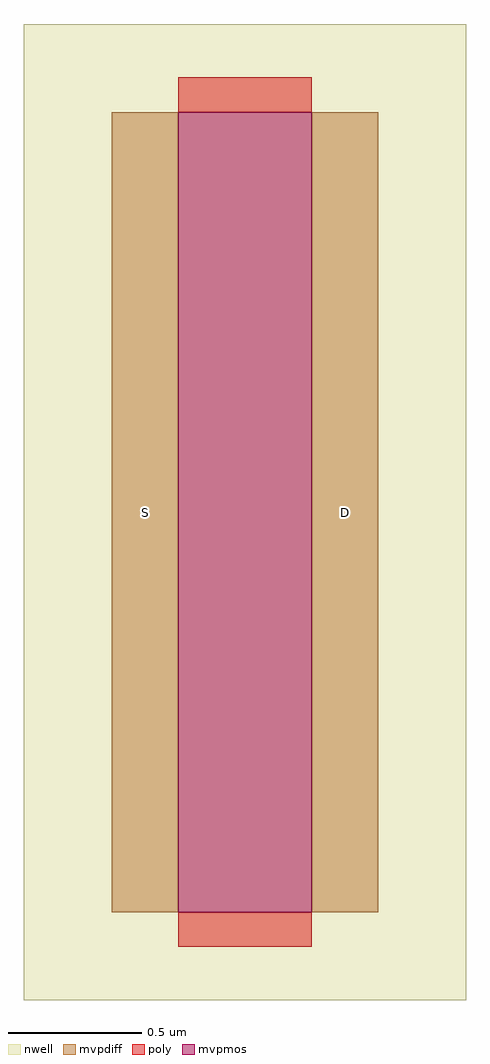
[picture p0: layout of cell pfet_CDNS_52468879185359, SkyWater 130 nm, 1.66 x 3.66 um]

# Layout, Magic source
magic
tech sky130B
magscale 1 2
<< nwell >>
rect -116 -66 216 666
<< mvpmos >>
rect 0 0 100 600
<< mvpdiff >>
rect -50 0 0 600
rect 100 0 150 600
<< poly >>
rect 0 600 100 626
rect 0 -26 100 0
<< labels >>
flabel comment s -25 300 -25 300 0 FreeSans 300 0 0 0 S
flabel comment s 125 300 125 300 0 FreeSans 300 0 0 0 D
<< properties >>
string GDS_END 87874490
string GDS_FILE $PDKPATH/libs.ref/sky130_fd_io/gds/sky130_fd_io.gds
string GDS_START 87873722
<< end >>
